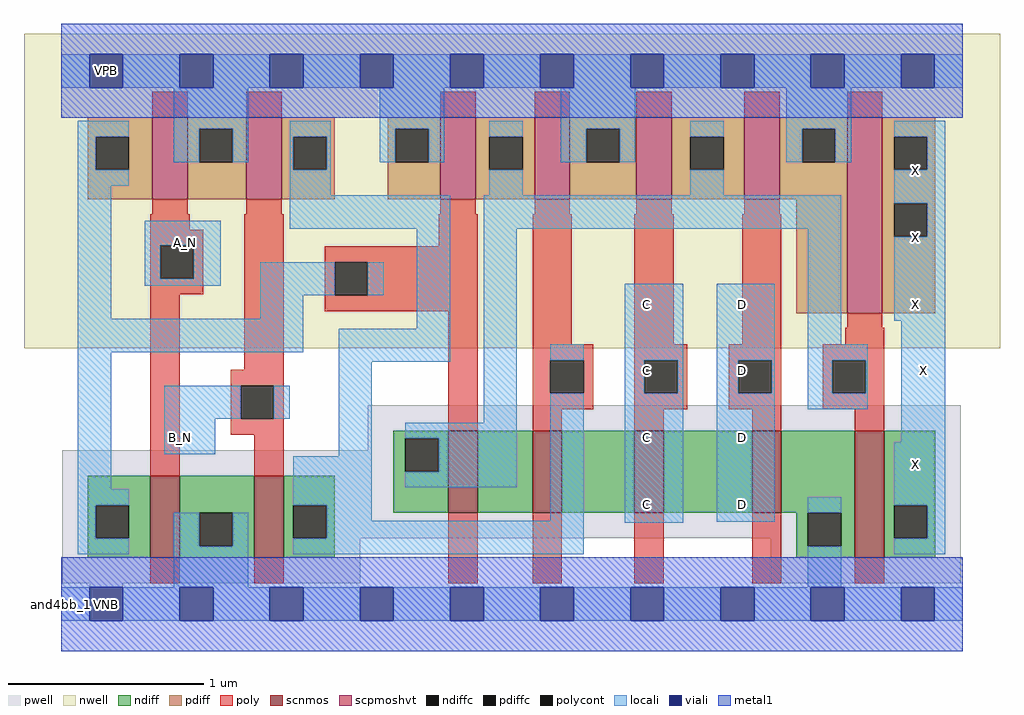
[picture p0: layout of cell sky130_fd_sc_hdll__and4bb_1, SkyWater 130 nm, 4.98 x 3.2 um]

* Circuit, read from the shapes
.subckt sky130_fd_sc_hdll__and4bb_1 A_N B_N C D VGND VNB VPB VPWR X
XM1 VGND A_N n1 VNB sky130_fd_pr__nfet_01v8 w=0.42 l=0.15
XM2 n2 B_N VGND VNB sky130_fd_pr__nfet_01v8 w=0.42 l=0.15
XM3 n3 n1 n4 VNB sky130_fd_pr__nfet_01v8 w=0.42 l=0.15
XM4 n5 n2 n3 VNB sky130_fd_pr__nfet_01v8 w=0.42 l=0.15
XM5 n6 C n5 VNB sky130_fd_pr__nfet_01v8 w=0.42 l=0.15
XM6 VGND D n6 VNB sky130_fd_pr__nfet_01v8 w=0.42 l=0.15
XM7 X n4 VGND VNB sky130_fd_pr__nfet_01v8 w=0.65 l=0.15
XM8 VPWR A_N n1 VPB sky130_fd_pr__pfet_01v8_hvt w=0.42 l=0.18
XM9 n2 B_N VPWR VPB sky130_fd_pr__pfet_01v8_hvt w=0.42 l=0.18
XM10 n4 n1 VPWR VPB sky130_fd_pr__pfet_01v8_hvt w=0.42 l=0.18
XM11 VPWR n2 n4 VPB sky130_fd_pr__pfet_01v8_hvt w=0.42 l=0.18
XM12 n4 C VPWR VPB sky130_fd_pr__pfet_01v8_hvt w=0.42 l=0.18
XM13 VPWR D n4 VPB sky130_fd_pr__pfet_01v8_hvt w=0.42 l=0.18
XM14 X n4 VPWR VPB sky130_fd_pr__pfet_01v8_hvt w=1 l=0.18
.ends

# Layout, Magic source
magic
tech sky130A
magscale 1 2
<< nwell >>
rect -38 261 958 582
<< pwell >>
rect 313 157 918 203
rect 1 67 918 157
rect 1 21 305 67
rect 724 21 918 67
rect 29 -17 63 21
<< scnmos >>
rect 91 47 121 131
rect 197 47 227 131
rect 395 93 425 177
rect 481 93 511 177
rect 585 93 615 177
rect 705 93 735 177
rect 810 47 840 177
<< scpmoshvt >>
rect 93 413 129 497
rect 189 413 225 497
rect 387 413 423 497
rect 483 413 519 497
rect 587 413 623 497
rect 697 413 733 497
rect 802 297 838 497
<< ndiff >>
rect 339 169 395 177
rect 339 135 351 169
rect 385 135 395 169
rect 27 101 91 131
rect 27 67 35 101
rect 69 67 91 101
rect 27 47 91 67
rect 121 93 197 131
rect 121 59 141 93
rect 175 59 197 93
rect 121 47 197 59
rect 227 101 279 131
rect 227 67 237 101
rect 271 67 279 101
rect 339 93 395 135
rect 425 93 481 177
rect 511 93 585 177
rect 615 93 705 177
rect 735 93 810 177
rect 227 47 279 67
rect 750 59 762 93
rect 796 59 810 93
rect 750 47 810 59
rect 840 101 892 177
rect 840 67 850 101
rect 884 67 892 101
rect 840 47 892 67
<< pdiff >>
rect 27 477 93 497
rect 27 443 35 477
rect 69 443 93 477
rect 27 413 93 443
rect 129 485 189 497
rect 129 451 141 485
rect 175 451 189 485
rect 129 413 189 451
rect 225 477 279 497
rect 225 443 237 477
rect 271 443 279 477
rect 225 413 279 443
rect 333 485 387 497
rect 333 451 341 485
rect 375 451 387 485
rect 333 413 387 451
rect 423 477 483 497
rect 423 443 437 477
rect 471 443 483 477
rect 423 413 483 443
rect 519 485 587 497
rect 519 451 536 485
rect 570 451 587 485
rect 519 413 587 451
rect 623 477 697 497
rect 623 443 642 477
rect 676 443 697 477
rect 623 413 697 443
rect 733 485 802 497
rect 733 451 756 485
rect 790 451 802 485
rect 733 413 802 451
rect 750 297 802 413
rect 838 477 892 497
rect 838 443 850 477
rect 884 443 892 477
rect 838 409 892 443
rect 838 375 850 409
rect 884 375 892 409
rect 838 297 892 375
<< ndiffc >>
rect 351 135 385 169
rect 35 67 69 101
rect 141 59 175 93
rect 237 67 271 101
rect 762 59 796 93
rect 850 67 884 101
<< pdiffc >>
rect 35 443 69 477
rect 141 451 175 485
rect 237 443 271 477
rect 341 451 375 485
rect 437 443 471 477
rect 536 451 570 485
rect 642 443 676 477
rect 756 451 790 485
rect 850 443 884 477
rect 850 375 884 409
<< poly >>
rect 93 497 129 523
rect 189 497 225 523
rect 387 497 423 523
rect 483 497 519 523
rect 587 497 623 523
rect 697 497 733 523
rect 802 497 838 523
rect 93 398 129 413
rect 189 398 225 413
rect 387 398 423 413
rect 483 398 519 413
rect 587 398 623 413
rect 697 398 733 413
rect 91 382 131 398
rect 91 366 145 382
rect 91 332 101 366
rect 135 332 145 366
rect 91 316 145 332
rect 91 131 121 316
rect 187 239 227 398
rect 385 365 425 398
rect 269 349 425 365
rect 269 315 279 349
rect 313 315 425 349
rect 269 299 425 315
rect 173 223 227 239
rect 173 189 183 223
rect 217 189 227 223
rect 173 173 227 189
rect 395 177 425 299
rect 481 265 521 398
rect 585 265 625 398
rect 695 265 735 398
rect 802 282 838 297
rect 800 265 840 282
rect 481 249 543 265
rect 481 215 499 249
rect 533 215 543 249
rect 481 199 543 215
rect 585 249 639 265
rect 585 215 595 249
rect 629 215 639 249
rect 585 199 639 215
rect 681 249 735 265
rect 681 215 691 249
rect 725 215 735 249
rect 681 199 735 215
rect 777 249 840 265
rect 777 215 787 249
rect 821 215 840 249
rect 777 199 840 215
rect 481 177 511 199
rect 585 177 615 199
rect 705 177 735 199
rect 810 177 840 199
rect 197 131 227 173
rect 91 21 121 47
rect 197 21 227 47
rect 395 21 425 93
rect 481 21 511 93
rect 585 21 615 93
rect 705 21 735 93
rect 810 21 840 47
<< polycont >>
rect 101 332 135 366
rect 279 315 313 349
rect 183 189 217 223
rect 499 215 533 249
rect 595 215 629 249
rect 691 215 725 249
rect 787 215 821 249
<< locali >>
rect 0 527 29 561
rect 63 527 121 561
rect 155 527 213 561
rect 247 527 305 561
rect 339 527 397 561
rect 431 527 489 561
rect 523 527 581 561
rect 615 527 673 561
rect 707 527 765 561
rect 799 527 857 561
rect 891 527 920 561
rect 17 477 69 493
rect 17 443 35 477
rect 115 485 191 527
rect 115 451 141 485
rect 175 451 191 485
rect 233 477 275 493
rect 17 427 69 443
rect 233 443 237 477
rect 271 443 275 477
rect 325 485 391 527
rect 325 451 341 485
rect 375 451 391 485
rect 437 477 471 493
rect 17 291 51 427
rect 233 417 275 443
rect 510 485 586 527
rect 510 451 536 485
rect 570 451 586 485
rect 642 477 676 493
rect 437 417 471 443
rect 740 485 806 527
rect 740 451 756 485
rect 790 451 806 485
rect 850 477 902 493
rect 642 417 676 443
rect 884 443 902 477
rect 85 366 163 391
rect 233 383 397 417
rect 85 332 101 366
rect 135 332 163 366
rect 85 325 163 332
rect 203 315 279 349
rect 313 315 329 349
rect 203 291 247 315
rect 17 257 247 291
rect 363 281 397 383
rect 17 117 51 257
rect 283 247 397 281
rect 431 383 796 417
rect 105 189 183 223
rect 217 189 233 223
rect 105 153 157 189
rect 283 151 317 247
rect 431 185 465 383
rect 17 101 69 117
rect 17 67 35 101
rect 237 101 317 151
rect 351 169 465 185
rect 385 135 465 169
rect 351 119 465 135
rect 499 249 533 265
rect 17 51 69 67
rect 115 59 141 93
rect 175 59 191 93
rect 115 17 191 59
rect 271 85 317 101
rect 499 85 533 215
rect 271 67 533 85
rect 575 249 635 327
rect 575 215 595 249
rect 629 215 635 249
rect 575 83 635 215
rect 669 249 728 327
rect 669 215 691 249
rect 725 215 728 249
rect 669 84 728 215
rect 762 265 796 383
rect 850 409 902 443
rect 884 375 902 409
rect 850 289 902 375
rect 762 249 823 265
rect 762 215 787 249
rect 821 215 823 249
rect 762 199 823 215
rect 857 165 902 289
rect 762 93 796 109
rect 237 51 533 67
rect 762 17 796 59
rect 850 101 902 165
rect 884 67 902 101
rect 850 51 902 67
rect 0 -17 29 17
rect 63 -17 121 17
rect 155 -17 213 17
rect 247 -17 305 17
rect 339 -17 397 17
rect 431 -17 489 17
rect 523 -17 581 17
rect 615 -17 673 17
rect 707 -17 765 17
rect 799 -17 857 17
rect 891 -17 920 17
<< viali >>
rect 29 527 63 561
rect 121 527 155 561
rect 213 527 247 561
rect 305 527 339 561
rect 397 527 431 561
rect 489 527 523 561
rect 581 527 615 561
rect 673 527 707 561
rect 765 527 799 561
rect 857 527 891 561
rect 29 -17 63 17
rect 121 -17 155 17
rect 213 -17 247 17
rect 305 -17 339 17
rect 397 -17 431 17
rect 489 -17 523 17
rect 581 -17 615 17
rect 673 -17 707 17
rect 765 -17 799 17
rect 857 -17 891 17
<< metal1 >>
rect 0 561 920 592
rect 0 527 29 561
rect 63 527 121 561
rect 155 527 213 561
rect 247 527 305 561
rect 339 527 397 561
rect 431 527 489 561
rect 523 527 581 561
rect 615 527 673 561
rect 707 527 765 561
rect 799 527 857 561
rect 891 527 920 561
rect 0 496 920 527
rect 0 17 920 48
rect 0 -17 29 17
rect 63 -17 121 17
rect 155 -17 213 17
rect 247 -17 305 17
rect 339 -17 397 17
rect 431 -17 489 17
rect 523 -17 581 17
rect 615 -17 673 17
rect 707 -17 765 17
rect 799 -17 857 17
rect 891 -17 920 17
rect 0 -48 920 -17
<< labels >>
flabel pwell s 29 -17 63 17 0 FreeSans 200 0 0 0 VNB
port 6 nsew ground bidirectional
flabel nwell s 29 527 63 561 0 FreeSans 200 0 0 0 VPB
port 7 nsew power bidirectional
flabel metal1 s 29 -17 63 17 0 FreeSans 200 0 0 0 VGND
port 5 nsew ground bidirectional
flabel metal1 s 29 527 63 561 0 FreeSans 200 0 0 0 VPWR
port 8 nsew power bidirectional
flabel locali s 105 352 149 386 0 FreeSans 200 0 0 0 A_N
port 1 nsew signal input
flabel locali s 678 85 712 119 0 FreeSans 200 0 0 0 D
port 4 nsew signal input
flabel locali s 678 153 712 187 0 FreeSans 200 0 0 0 D
port 4 nsew signal input
flabel locali s 678 221 712 255 0 FreeSans 200 0 0 0 D
port 4 nsew signal input
flabel locali s 855 125 889 159 0 FreeSans 200 0 0 0 X
port 9 nsew signal output
flabel locali s 863 221 897 255 0 FreeSans 200 0 0 0 X
port 9 nsew signal output
flabel locali s 855 289 889 323 0 FreeSans 200 0 0 0 X
port 9 nsew signal output
flabel locali s 855 357 889 391 0 FreeSans 200 0 0 0 X
port 9 nsew signal output
flabel locali s 855 425 889 459 0 FreeSans 200 0 0 0 X
port 9 nsew signal output
flabel locali s 580 153 614 187 0 FreeSans 200 0 0 0 C
port 3 nsew signal input
flabel locali s 580 221 614 255 0 FreeSans 200 0 0 0 C
port 3 nsew signal input
flabel locali s 580 85 614 119 0 FreeSans 200 0 0 0 C
port 3 nsew signal input
flabel locali s 105 153 139 187 0 FreeSans 200 0 0 0 B_N
port 2 nsew signal input
flabel locali s 580 289 614 323 0 FreeSans 200 0 0 0 C
port 3 nsew signal input
flabel locali s 678 289 712 323 0 FreeSans 200 0 0 0 D
port 4 nsew signal input
rlabel comment s 0 0 0 0 4 and4bb_1
<< properties >>
string LEFsite unithd
string LEFclass CORE
string FIXED_BBOX 0 0 920 544
string GDS_FILE $PDKPATH/libs.ref/sky130_fd_sc_hdll/gds/sky130_fd_sc_hdll.gds
string LEFsymmetry X Y R90
string GDS_END 1880276
string GDS_START 1871904
string LEFproperties maskLayoutSubType "abstract" prCellType "standard" originalViewName "layout"
<< end >>
